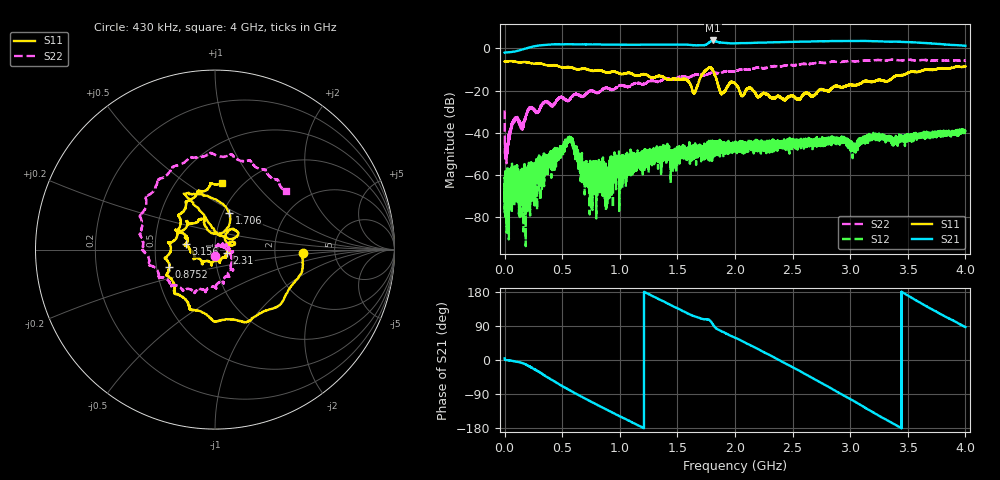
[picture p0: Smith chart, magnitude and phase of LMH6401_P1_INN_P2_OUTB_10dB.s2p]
!Keysight Technologies N9917A: A.08.18
!Date: Saturday, 27 May 2023 16:48:15
!Timezone: (GMT-07:00) Mountain Time (US & Canada)
!Model: N9917A
!Serial: MY52401314
!GPS Latitude:
!GPS Longitude:
!GPS TimeStamp: 0001-01-01 00:00:00Z
!GPS Seconds Since Last Read: 0
!CHECKSUM:0542808461
!Correction: S11(ON U)S21(ON U)S12(ON U)S22(ON U)
!S2P File: Measurements:S11,S21,S12,S22:
# Hz S DB R 50
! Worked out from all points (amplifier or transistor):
!   10000 points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, 430 kHz to 4 GHz, reference 50 ohm
!   highest |S21| = 3.7 dB at 1.809 GHz (marker M1)
!   |S21| within 3 dB of that: 239.7 MHz to end of sweep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
!   unconditionally stable (mu >= 1): start of sweep to end of sweep
!   at 666.8 MHz: K = 206.12, MAG = 2.4 dB, |S12| = -55.3 dB
!   at 2 GHz: K = 78.64, MAG = 2.9 dB, |S12| = -47.3 dB
!   at 4 GHz: K = 23.02, MAG = 3.3 dB, |S12| = -38.6 dB
!   S11 on the Smith chart (normalised r, x): 430 kHz: 2.90, -0.15; 875.2 MHz: 0.58, -0.12; 1.706 GHz: 1.07, +0.46; 2.31 GHz: 1.14, -0.04; 3.156 GHz: 0.72, +0.04; 4 GHz: 0.81, +0.70
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429997  -6.21 -2.3  -1.98 4.1  -61.64 31.7  -29.40 -93.2
2.242983e7  -6.19 -6.3  -1.88 -0.5  -63.84 -60.4  -48.70 -65.7
8.802934e7  -6.28 -19.2  -1.45 -3.6  -59.99 -65.5  -32.89 50.7
1.644288e8  -6.50 -37.8  -0.38 -9.3  -62.91 -149.9  -35.97 46.6
2.944278e8  -7.14 -64.8  1.30 -30.4  -51.46 96.0  -29.91 34.2
5.656258e8  -8.88 -113.1  1.98 -79.7  -42.95 -32.6  -24.02 1.1
6.67225e8  -9.83 -130.7  1.92 -96.5  -53.18 -74.4  -22.73 4.2
8.752234e8  -11.28 -159.3  1.78 -129.5  -60.30 -86.2  -18.64 -20.7
9.624228e8  -11.09 -171.0  1.78 -142.9  -61.64 -29.3  -18.88 -35.5
1.33362e9  -13.08 135.1  1.77 161.3  -53.58 -72.3  -15.77 -69.6
1.645618e9  -21.06 86.4  1.47 115.6  -52.21 -78.9  -12.72 -102.1
1.706417e9  -13.11 68.9  1.48 109.4  -53.44 -99.2  -12.61 -103.6
1.809216e9  -10.53 116.3  3.74 93.4  -46.71 -132.7  -11.50 -115.5
1.884816e9  -21.37 66.3  2.70 75.9  -47.56 -104.7  -11.47 -124.9
2.000415e9  -16.50 51.3  2.38 58.9  -47.28 -130.7  -10.76 -135.5
2.310413e9  -23.24 -15.2  2.84 11.6  -45.85 -167.4  -8.61 -166.0
2.66681e9  -22.75 -114.4  3.26 -46.8  -43.19 165.4  -7.28 159.5
2.900408e9  -18.00 -157.2  3.45 -86.4  -42.97 128.0  -6.48 138.2
3.155606e9  -15.67 169.8  3.47 -130.6  -42.51 119.6  -5.79 113.4
3.333605e9  -15.32 155.2  3.16 -160.9  -42.78 80.8  -5.57 95.2
3.680802e9  -10.19 119.7  2.41 138.4  -41.55 43.2  -5.70 66.0
4e9  -8.53 84.0  1.23 86.8  -38.58 10.5  -5.72 39.3
